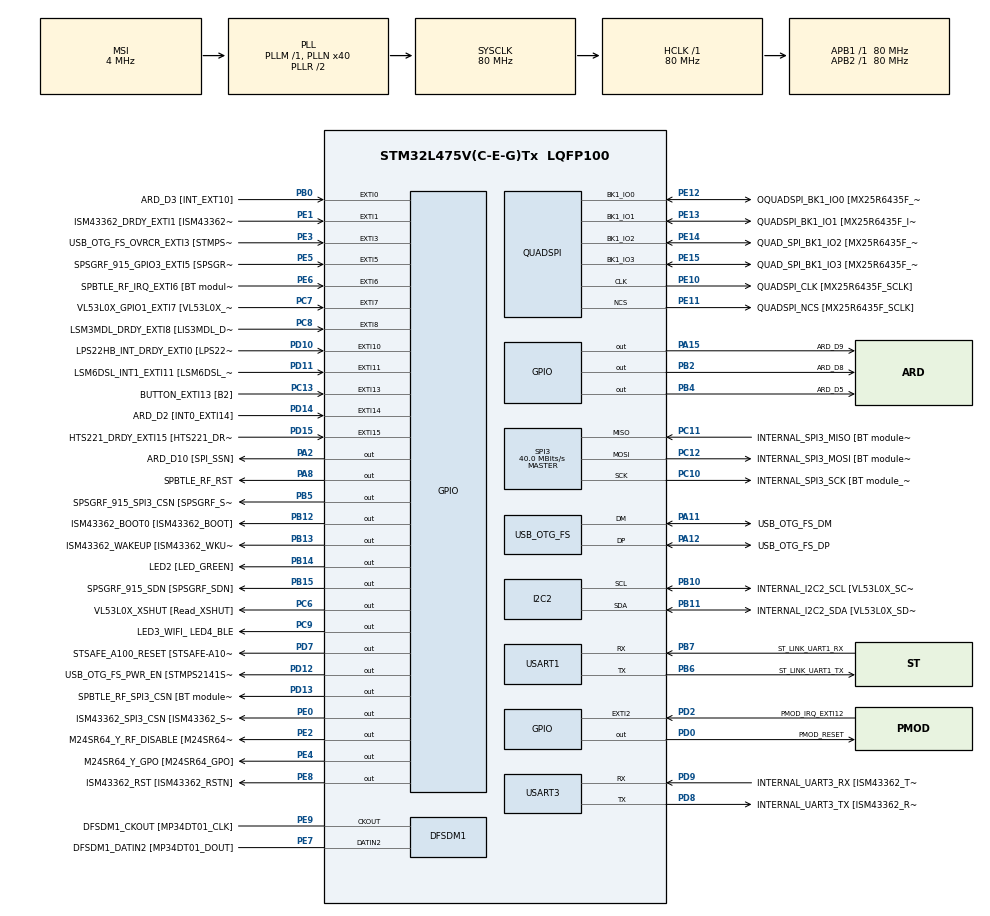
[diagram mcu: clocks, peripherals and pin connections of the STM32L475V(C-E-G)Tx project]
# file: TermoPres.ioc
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FREERTOS.HEAP_NUMBER=4
FREERTOS.Tasks01=defaultTask,24,128,StartDefaultTask,Default,NULL,Dynamic,NULL,NULL;temperature,9,400,StartTemp,Default,NULL,Dynamic,NULL,NULL;pressure,10,400,StartTPres,Default,NULL,Dynamic,NULL,NULL;humidity,11,400,StartHumidity,Default,NULL,Dynamic,NULL,NULL;HeatIndex,8,512,StartIndex,Default,NULL,Dynamic,NULL,NULL
FREERTOS.configTOTAL_HEAP_SIZE=9000
FREERTOS.configUSE_IDLE_HOOK=0
Mcu.Family=STM32L4
Mcu.Name=STM32L475V(C-E-G)Tx
Mcu.Package=LQFP100
NVIC.EXTI15_10_IRQn=true\:5\:0\:false\:false\:true\:true\:true\:true
NVIC.EXTI9_5_IRQn=true\:5\:0\:false\:false\:true\:true\:true\:true
NVIC.PriorityGroup=NVIC_PRIORITYGROUP_4
NVIC.TIM6_DAC_IRQn=true\:0\:0\:false\:false\:true\:false\:false\:true
NVIC.TimeBase=TIM6_DAC_IRQn
NVIC.TimeBaseIP=TIM6
PA0.GPIO_Label=ARD_D1 [UART4_TX]
PA0.Signal=UART4_TX
PA1.GPIO_Label=ARD_D0 [UART4_RX]
PA1.Signal=UART4_RX
PA10.GPIO_Label=USB_OTG_FS_ID
PA10.Signal=USB_OTG_FS_ID
PA11.GPIO_Label=USB_OTG_FS_DM
PA11.Mode=Device_Only
PA11.Signal=USB_OTG_FS_DM
PA12.GPIO_Label=USB_OTG_FS_DP
PA12.Mode=Device_Only
PA12.Signal=USB_OTG_FS_DP
PA13\ (JTMS-SWDIO).GPIO_Label=SYS_JTMS_SWDIO
PA13\ (JTMS-SWDIO).Mode=Serial_Wire
PA13\ (JTMS-SWDIO).Signal=SYS_JTMS-SWDIO
PA14\ (JTCK-SWCLK).GPIO_Label=SYS_JTCK_SWCLK
PA14\ (JTCK-SWCLK).Mode=Serial_Wire
PA14\ (JTCK-SWCLK).Signal=SYS_JTCK-SWCLK
PA15\ (JTDI).GPIO_Label=ARD_D9
PA15\ (JTDI).Signal=GPIO_Output
PA2.GPIO_Label=ARD_D10 [SPI_SSN]
PA2.Signal=GPIO_Output
PA3.GPIO_Label=ARD_D4
PA3.Signal=S_TIM2_CH4
PA4.GPIO_Label=ARD_D7
PA4.Signal=ADCx_IN9
PA5.GPIO_Label=ARD_D13 [SPI1_SCK]
PA5.Signal=SPI1_SCK
PA6.GPIO_Label=ARD_D12 [SPI1_MISO]
PA6.Signal=SPI1_MISO
PA7.GPIO_Label=ARD_D11 [SPI1_MOSI]
PA7.Signal=SPI1_MOSI
PA8.GPIO_Label=SPBTLE_RF_RST
PA8.Signal=GPIO_Output
PA9.GPIO_Label=USB_OTG_FS_VBUS [STMPS2141STR_OUT]
PA9.Signal=USB_OTG_FS_VBUS
PB0.GPIO_Label=ARD_D3 [INT_EXT10]
PB0.Signal=GPXTI0
PB1.GPIO_Label=ARD_D6 [ADC1_IN6]
PB1.Signal=ADCx_IN16
PB10.GPIO_Label=INTERNAL_I2C2_SCL [VL53L0X_SCL]
PB10.Mode=I2C
PB10.Signal=I2C2_SCL
PB11.GPIO_Label=INTERNAL_I2C2_SDA [VL53L0X_SDA]
PB11.Mode=I2C
PB11.Signal=I2C2_SDA
PB12.GPIO_Label=ISM43362_BOOT0 [ISM43362_BOOT]
PB12.Signal=GPIO_Output
PB13.GPIO_Label=ISM43362_WAKEUP [ISM43362_WKUP]
PB13.Signal=GPIO_Output
PB14.GPIO_Label=LED2 [LED_GREEN]
PB14.Signal=GPIO_Output
PB15.GPIO_Label=SPSGRF_915_SDN [SPSGRF_SDN]
PB15.Signal=GPIO_Output
PB2.GPIO_Label=ARD_D8
PB2.Signal=GPIO_Output
PB3\ (JTDO-TRACESWO).GPIO_Label=SYS_JTD0_SWO
PB3\ (JTDO-TRACESWO).Signal=SYS_JTDO-SWO
PB4\ (NJTRST).GPIO_Label=ARD_D5
PB4\ (NJTRST).Signal=GPIO_Output
PB5.GPIO_Label=SPSGRF_915_SPI3_CSN [SPSGRF_SPI_CS]
PB5.PinState=GPIO_PIN_SET
PB5.Signal=GPIO_Output
PB6.GPIO_Label=ST_LINK_UART1_TX
PB6.Mode=Asynchronous
PB6.Signal=USART1_TX
PB7.GPIO_Label=ST_LINK_UART1_RX
PB7.Mode=Asynchronous
PB7.Signal=USART1_RX
PB8.GPIO_Label=ARD_D15 [I2C1_SCL]
PB8.Signal=I2C1_SCL
PB9.GPIO_Label=ARD_D14 [I2C1_SDA]
PB9.Signal=I2C1_SDA
PC0.GPIO_Label=ARD_A5 [ADC]
PC0.Signal=ADCx_IN1
PC1.GPIO_Label=ARD_A4 [ADC]
PC1.Signal=ADCx_IN2
PC10.GPIO_Label=INTERNAL_SPI3_SCK [BT module_SPI_SCLK] [ISM43362_SCK]
PC10.Mode=Full_Duplex_Master
PC10.Signal=SPI3_SCK
PC11.GPIO_Label=INTERNAL_SPI3_MISO [BT module_SPI_MISO] [ISM43362_MISO]
PC11.Mode=Full_Duplex_Master
PC11.Signal=SPI3_MISO
PC12.GPIO_Label=INTERNAL_SPI3_MOSI [BT module_SPI_MOSI] [ISM43362_MOSI]
PC12.Mode=Full_Duplex_Master
PC12.Signal=SPI3_MOSI
PC13.GPIO_Label=BUTTON_EXTI13 [B2]
PC13.GPIO_ModeDefaultEXTI=GPIO_MODE_IT_FALLING
PC13.Signal=GPXTI13
PC14-OSC32_IN\ (PC14).Mode=LSE-External-Oscillator
PC14-OSC32_IN\ (PC14).Signal=RCC_OSC32_IN
PC15-OSC32_OUT\ (PC15).Mode=LSE-External-Oscillator
PC15-OSC32_OUT\ (PC15).Signal=RCC_OSC32_OUT
PC2.GPIO_Label=ARD_A3 [ADC]
PC2.Signal=ADCx_IN3
PC3.GPIO_Label=ARD_A2 [ADC]
PC3.Signal=ADCx_IN4
PC4.GPIO_Label=ARD_A1 [ADC]
PC4.Signal=ADCx_IN13
PC5.GPIO_Label=ARD_A0 [ADC]
PC5.Signal=ADCx_IN14
PC6.GPIO_Label=VL53L0X_XSHUT [Read_XSHUT]
PC6.Signal=GPIO_Output
PC7.GPIO_Label=VL53L0X_GPIO1_EXTI7 [VL53L0X_GPIO1]
PC7.Signal=GPXTI7
PC8.GPIO_Label=LSM3MDL_DRDY_EXTI8 [LIS3MDL_DRDY]
PC8.Signal=GPXTI8
PC9.GPIO_Label=LED3_WIFI_ LED4_BLE
PC9.Signal=GPIO_Output
PD0.GPIO_Label=PMOD_RESET
PD0.Signal=GPIO_Output
PD1.GPIO_Label=PMOD_SPI2_SCK
PD1.Signal=SPI2_SCK
PD10.GPIO_Label=LPS22HB_INT_DRDY_EXTI0 [LPS22HB_INT_DRDY] 
PD10.Signal=GPXTI10
PD11.GPIO_Label=LSM6DSL_INT1_EXTI11 [LSM6DSL_INT1]
PD11.Signal=GPXTI11
PD12.GPIO_Label=USB_OTG_FS_PWR_EN [STMPS2141STR_EN]
PD12.Signal=GPIO_Output
PD13.GPIO_Label=SPBTLE_RF_SPI3_CSN [BT module_SPI_CS]
PD13.PinState=GPIO_PIN_SET
PD13.Signal=GPIO_Output
PD14.GPIO_Label=ARD_D2 [INT0_EXTI14]
PD14.Signal=GPXTI14
PD15.GPIO_Label=HTS221_DRDY_EXTI15 [HTS221_DRDY]
PD15.Signal=GPXTI15
PD2.GPIO_Label=PMOD_IRQ_EXTI12
PD2.Signal=GPXTI2
PD3.GPIO_Label=PMOD_UART2_CTS
PD3.Signal=USART2_CTS
PD4.GPIO_Label=PMOD_UART2_RTS
PD4.Signal=USART2_RTS
PD5.GPIO_Label=PMOD_UART2_TX
PD5.Signal=USART2_TX
PD6.GPIO_Label=PMOD_UART2_RX
PD6.Signal=USART2_RX
PD7.GPIO_Label=STSAFE_A100_RESET [STSAFE-A100_RESET]
PD7.Signal=GPIO_Output
PD8.GPIO_Label=INTERNAL_UART3_TX [ISM43362_RX]
PD8.Mode=Asynchronous
PD8.Signal=USART3_TX
PD9.GPIO_Label=INTERNAL_UART3_RX [ISM43362_TX]
PD9.Mode=Asynchronous
PD9.Signal=USART3_RX
PE0.GPIO_Label=ISM43362_SPI3_CSN [ISM43362_SSN]
PE0.PinState=GPIO_PIN_SET
PE0.Signal=GPIO_Output
PE1.GPIO_Label=ISM43362_DRDY_EXTI1 [ISM43362_DATARDY]
PE1.Signal=GPXTI1
PE10.GPIO_Label=QUADSPI_CLK [MX25R6435F_SCLK]
PE10.Mode=Single Bank
PE10.Signal=QUADSPI_CLK
PE11.GPIO_Label=QUADSPI_NCS [MX25R6435F_SCLK]
PE11.Mode=Single Bank
PE11.Signal=QUADSPI_NCS
PE12.GPIO_Label=OQUADSPI_BK1_IO0 [MX25R6435F_IO0]
PE12.Mode=Single Bank
PE12.Signal=QUADSPI_BK1_IO0
PE13.GPIO_Label=QUADSPI_BK1_IO1 [MX25R6435F_IO1]
PE13.Mode=Single Bank
PE13.Signal=QUADSPI_BK1_IO1
PE14.GPIO_Label=QUAD_SPI_BK1_IO2 [MX25R6435F_IO2]
PE14.Mode=Single Bank
PE14.Signal=QUADSPI_BK1_IO2
PE15.GPIO_Label=QUAD_SPI_BK1_IO3 [MX25R6435F_IO3]
PE15.Mode=Single Bank
PE15.Signal=QUADSPI_BK1_IO3
PE2.GPIO_Label=M24SR64_Y_RF_DISABLE [M24SR64_RFDIS]
PE2.Signal=GPIO_Output
PE3.GPIO_Label=USB_OTG_FS_OVRCR_EXTI3 [STMPS2141STR_FAULT]
PE3.Signal=GPXTI3
PE4.GPIO_Label=M24SR64_Y_GPO [M24SR64_GPO]
PE4.Signal=GPIO_Output
PE5.GPIO_Label=SPSGRF_915_GPIO3_EXTI5 [SPSGRF_GPIO_3]
PE5.Signal=GPXTI5
PE6.GPIO_Label=SPBTLE_RF_IRQ_EXTI6 [BT module_SPI_IRQ]
PE6.Signal=GPXTI6
PE7.GPIO_Label=DFSDM1_DATIN2 [MP34DT01_DOUT]
PE7.Signal=S_DATAIN2DFSDM1
PE8.GPIO_Label=ISM43362_RST [ISM43362_RSTN]
PE8.Signal=GPIO_Output
PE9.GPIO_Label=DFSDM1_CKOUT [MP34DT01_CLK]
PE9.Signal=S_CKOUTDFSDM1
ProjectManager.HeapSize=0x200
ProjectManager.StackSize=0x400
ProjectManager.TargetToolchain=STM32CubeIDE
RCC.ADCFreq_Value=48000000
RCC.AHBFreq_Value=80000000
RCC.APB1Freq_Value=80000000
RCC.APB1TimFreq_Value=80000000
RCC.APB2Freq_Value=80000000
RCC.APB2TimFreq_Value=80000000
RCC.CortexFreq_Value=80000000
RCC.HCLKFreq_Value=80000000
RCC.HSE_VALUE=8000000
RCC.HSI_VALUE=16000000
RCC.MSI_VALUE=4000000
RCC.PLLN=40
RCC.PLLSAI1N=24
RCC.SYSCLKFreq_VALUE=80000000
RCC.SYSCLKSource=RCC_SYSCLKSOURCE_PLLCLK
RCC.USBFreq_Value=48000000
RCC.VCOOutputFreq_Value=160000000
SH.ADCx_IN1.0=ADC1_IN1
SH.ADCx_IN13.0=ADC1_IN13
SH.ADCx_IN14.0=ADC1_IN14
SH.ADCx_IN16.0=ADC1_IN16
SH.ADCx_IN2.0=ADC1_IN2
SH.ADCx_IN3.0=ADC1_IN3
SH.ADCx_IN4.0=ADC1_IN4
SH.ADCx_IN9.0=ADC1_IN9
SH.S_CKOUTDFSDM1.0=DFSDM1_CKOUT,CKOUT
SH.S_CKOUTDFSDM1.1=DFSDM1_CKOUT,PDM_SPI_Input_from_ch12_and_Internal_Clock
SH.S_DATAIN2DFSDM1.0=DFSDM1_DATIN2,PDM_SPI_Input_from_ch12_and_Internal_Clock
SH.S_TIM2_CH4.0=TIM2_CH4
SPI3.CalculateBaudRate=40.0 MBits/s
SPI3.Direction=SPI_DIRECTION_2LINES
SPI3.Mode=SPI_MODE_MASTER
SPI3.VirtualType=VM_MASTER
USART1.VirtualMode-Asynchronous=VM_ASYNC
USART3.VirtualMode-Asynchronous=VM_ASYNC
USB_OTG_FS.VirtualMode=Device_Only
VP_FREERTOS_VS_CMSIS_V2.Mode=CMSIS_V2
VP_SYS_VS_tim6.Mode=TIM6
board=B-L475E-IOT01A1

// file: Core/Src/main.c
/* USER CODE BEGIN Header */
/**
  ******************************************************************************
  * @file           : main.c
  * @brief          : Main program body
  ******************************************************************************
  * @attention
  *
  * <h2><center>&copy; Copyright (c) 2020 STMicroelectronics.
  * All rights reserved.</center></h2>
  *
  * This software component is licensed by ST under BSD 3-Clause license,
  * the "License"; You may not use this file except in compliance with the
  * License. You may obtain a copy of the License at:
  *                        opensource.org/licenses/BSD-3-Clause
  *
  ******************************************************************************
  */
/* USER CODE END Header */

#include "main.h"
#include "cmsis_os.h"

/* USER CODE BEGIN Includes */
#include "stm32l475e_iot01.h"
#include "stm32l475e_iot01_tsensor.h"
#include "stm32l475e_iot01_psensor.h"
#include "stm32l475e_iot01_hsensor.h"
#include <stdio.h>
#include <math.h>
/* USER CODE END Includes */

/* USER CODE BEGIN PD */
#define BIT_TEMP ( 1 << 0 )
#define BIT_PRES ( 1 << 1 )
#define BIT_HUM	( 1 << 2 )
#define BIT_ALL	( 1 << 0 | 1 << 1 | 1 << 2 )
/* USER CODE END PD */

DFSDM_Channel_HandleTypeDef hdfsdm1_channel1;

I2C_HandleTypeDef hi2c2;

QSPI_HandleTypeDef hqspi;

SPI_HandleTypeDef hspi3;

UART_HandleTypeDef huart1;
UART_HandleTypeDef huart3;

PCD_HandleTypeDef hpcd_USB_OTG_FS;

/* Definitions for PrintTask */
osThreadId_t PrintTaskHandle;
const osThreadAttr_t PrintTask_attributes = {
  .name = "PrintTask",
  .priority = (osPriority_t) osPriorityLow,
  .stack_size = 512
};
/* Definitions for temperature */
osThreadId_t temperatureHandle;
const osThreadAttr_t temperature_attributes = {
  .name = "temperature",
  .priority = (osPriority_t) osPriorityLow3,
  .stack_size = 400
};
/* Definitions for pressure */
osThreadId_t pressureHandle;
const osThreadAttr_t pressure_attributes = {
  .name = "pressure",
  .priority = (osPriority_t) osPriorityLow2,
  .stack_size = 400
};
/* Definitions for humidity */
osThreadId_t humidityHandle;
const osThreadAttr_t humidity_attributes = {
  .name = "humidity",
  .priority = (osPriority_t) osPriorityLow1,
  .stack_size = 400
};
/* Definitions for HeatIndex */
osThreadId_t HeatIndexHandle;
const osThreadAttr_t HeatIndex_attributes = {
  .name = "HeatIndex",
  .priority = (osPriority_t) osPriorityLow,
  .stack_size = 550
};
/* Definitions for ButtonQueue */
osMessageQueueId_t ButtonQueueHandle;
const osMessageQueueAttr_t ButtonQueue_attributes = {
  .name = "ButtonQueue"
};
/* USER CODE BEGIN PV */
char str_stamp[100] = "";
char str_hi[100] = "";
float temp_value = 0;
float pres_value = 0;
float hum_value = 0;
float heatIndex = 0;
int Inthum1 = 0;
int Inthum2 = 0;
int Intpres1 = 0;
int Intpres2 = 0;
int Inttemp1 = 0;
float Fractemp = 0;
int Inttemp2 = 0;
int Inthi1 = 0;
float Frachi = 0;
int Inthi2 = 0;
uint8_t msg = 0;
osStatus_t status;
osEventFlagsId_t evt_id;
uint32_t flags;
/* USER CODE END PV */

void SystemClock_Config(void);
static void MX_GPIO_Init(void);
static void MX_DFSDM1_Init(void);
static void MX_I2C2_Init(void);
static void MX_QUADSPI_Init(void);
static void MX_SPI3_Init(void);
static void MX_USART1_UART_Init(void);
static void MX_USART3_UART_Init(void);
static void MX_USB_OTG_FS_PCD_Init(void);
void StartPrintTask(void *argument);
void StartTemp(void *argument);
void StartTPres(void *argument);
void StartHumidity(void *argument);
void StartIndex(void *argument);

int main(void)
{

  /* MCU Configuration--------------------------------------------------------*/

  /* Reset of all peripherals, Initializes the Flash interface and the Systick. */
  HAL_Init();

  /* Configure the system clock */
  SystemClock_Config();

  /* Initialize all configured peripherals */
  MX_GPIO_Init();
  MX_DFSDM1_Init();
  MX_I2C2_Init();
  MX_QUADSPI_Init();
  MX_SPI3_Init();
  MX_USART1_UART_Init();
  MX_USART3_UART_Init();
  MX_USB_OTG_FS_PCD_Init();
  /* USER CODE BEGIN 2 */
  BSP_TSENSOR_Init();
  BSP_HSENSOR_Init();
  BSP_PSENSOR_Init();
  /* USER CODE END 2 */
  /* Init scheduler */
  osKernelInitialize();

  /* Create the queue(s) */
  /* creation of ButtonQueue */
  ButtonQueueHandle = osMessageQueueNew (1, sizeof(uint8_t), &ButtonQueue_attributes);

  /* USER CODE BEGIN RTOS_QUEUES */
  /* add queues, ... */
  evt_id = osEventFlagsNew(NULL);
  /* USER CODE END RTOS_QUEUES */

  /* Create the thread(s) */
  /* creation of PrintTask */
  PrintTaskHandle = osThreadNew(StartPrintTask, NULL, &PrintTask_attributes);

  /* creation of temperature */
  temperatureHandle = osThreadNew(StartTemp, NULL, &temperature_attributes);

  /* creation of pressure */
  pressureHandle = osThreadNew(StartTPres, NULL, &pressure_attributes);

  /* creation of humidity */
  humidityHandle = osThreadNew(StartHumidity, NULL, &humidity_attributes);

  /* creation of HeatIndex */
  HeatIndexHandle = osThreadNew(StartIndex, NULL, &HeatIndex_attributes);

  /* Start scheduler */
  osKernelStart();

  /* We should never get here as control is now taken by the scheduler */

  /* Infinite loop */
  while (1)
  {

  }
}

void SystemClock_Config(void)
{
  RCC_OscInitTypeDef RCC_OscInitStruct = {0};
  RCC_ClkInitTypeDef RCC_ClkInitStruct = {0};
  RCC_PeriphCLKInitTypeDef PeriphClkInit = {0};

  /** Configure LSE Drive Capability
  */
  HAL_PWR_EnableBkUpAccess();
  __HAL_RCC_LSEDRIVE_CONFIG(RCC_LSEDRIVE_LOW);
  /** Initializes the CPU, AHB and APB busses clocks
  */
  RCC_OscInitStruct.OscillatorType = RCC_OSCILLATORTYPE_LSE|RCC_OSCILLATORTYPE_MSI;
  RCC_OscInitStruct.LSEState = RCC_LSE_ON;
  RCC_OscInitStruct.MSIState = RCC_MSI_ON;
  RCC_OscInitStruct.MSICalibrationValue = 0;
  RCC_OscInitStruct.MSIClockRange = RCC_MSIRANGE_6;
  RCC_OscInitStruct.PLL.PLLState = RCC_PLL_ON;
  RCC_OscInitStruct.PLL.PLLSource = RCC_PLLSOURCE_MSI;
  RCC_OscInitStruct.PLL.PLLM = 1;
  RCC_OscInitStruct.PLL.PLLN = 40;
  RCC_OscInitStruct.PLL.PLLP = RCC_PLLP_DIV7;
  RCC_OscInitStruct.PLL.PLLQ = RCC_PLLQ_DIV2;
  RCC_OscInitStruct.PLL.PLLR = RCC_PLLR_DIV2;
  if (HAL_RCC_OscConfig(&RCC_OscInitStruct) != HAL_OK)
  {
    Error_Handler();
  }
  /** Initializes the CPU, AHB and APB busses clocks
  */
  RCC_ClkInitStruct.ClockType = RCC_CLOCKTYPE_HCLK|RCC_CLOCKTYPE_SYSCLK
                              |RCC_CLOCKTYPE_PCLK1|RCC_CLOCKTYPE_PCLK2;
  RCC_ClkInitStruct.SYSCLKSource = RCC_SYSCLKSOURCE_PLLCLK;
  RCC_ClkInitStruct.AHBCLKDivider = RCC_SYSCLK_DIV1;
  RCC_ClkInitStruct.APB1CLKDivider = RCC_HCLK_DIV1;
  RCC_ClkInitStruct.APB2CLKDivider = RCC_HCLK_DIV1;

  if (HAL_RCC_ClockConfig(&RCC_ClkInitStruct, FLASH_LATENCY_4) != HAL_OK)
  {
    Error_Handler();
  }
  PeriphClkInit.PeriphClockSelection = RCC_PERIPHCLK_USART1|RCC_PERIPHCLK_USART3
                              |RCC_PERIPHCLK_I2C2|RCC_PERIPHCLK_DFSDM1
                              |RCC_PERIPHCLK_USB;
  PeriphClkInit.Usart1ClockSelection = RCC_USART1CLKSOURCE_PCLK2;
  PeriphClkInit.Usart3ClockSelection = RCC_USART3CLKSOURCE_PCLK1;
  PeriphClkInit.I2c2ClockSelection = RCC_I2C2CLKSOURCE_PCLK1;
  PeriphClkInit.Dfsdm1ClockSelection = RCC_DFSDM1CLKSOURCE_PCLK;
  PeriphClkInit.UsbClockSelection = RCC_USBCLKSOURCE_PLLSAI1;
  PeriphClkInit.PLLSAI1.PLLSAI1Source = RCC_PLLSOURCE_MSI;
  PeriphClkInit.PLLSAI1.PLLSAI1M = 1;
  PeriphClkInit.PLLSAI1.PLLSAI1N = 24;
  PeriphClkInit.PLLSAI1.PLLSAI1P = RCC_PLLP_DIV7;
  PeriphClkInit.PLLSAI1.PLLSAI1Q = RCC_PLLQ_DIV2;
  PeriphClkInit.PLLSAI1.PLLSAI1R = RCC_PLLR_DIV2;
  PeriphClkInit.PLLSAI1.PLLSAI1ClockOut = RCC_PLLSAI1_48M2CLK;
  if (HAL_RCCEx_PeriphCLKConfig(&PeriphClkInit) != HAL_OK)
  {
    Error_Handler();
  }
  /** Configure the main internal regulator output voltage
  */
  if (HAL_PWREx_ControlVoltageScaling(PWR_REGULATOR_VOLTAGE_SCALE1) != HAL_OK)
  {
    Error_Handler();
  }
  /** Enable MSI Auto calibration
  */
  HAL_RCCEx_EnableMSIPLLMode();
}

static void MX_DFSDM1_Init(void)
{

  hdfsdm1_channel1.Instance = DFSDM1_Channel1;
  hdfsdm1_channel1.Init.OutputClock.Activation = ENABLE;
  hdfsdm1_channel1.Init.OutputClock.Selection = DFSDM_CHANNEL_OUTPUT_CLOCK_SYSTEM;
  hdfsdm1_channel1.Init.OutputClock.Divider = 2;
  hdfsdm1_channel1.Init.Input.Multiplexer = DFSDM_CHANNEL_EXTERNAL_INPUTS;
  hdfsdm1_channel1.Init.Input.DataPacking = DFSDM_CHANNEL_STANDARD_MODE;
  hdfsdm1_channel1.Init.Input.Pins = DFSDM_CHANNEL_FOLLOWING_CHANNEL_PINS;
  hdfsdm1_channel1.Init.SerialInterface.Type = DFSDM_CHANNEL_SPI_RISING;
  hdfsdm1_channel1.Init.SerialInterface.SpiClock = DFSDM_CHANNEL_SPI_CLOCK_INTERNAL;
  hdfsdm1_channel1.Init.Awd.FilterOrder = DFSDM_CHANNEL_FASTSINC_ORDER;
  hdfsdm1_channel1.Init.Awd.Oversampling = 1;
  hdfsdm1_channel1.Init.Offset = 0;
  hdfsdm1_channel1.Init.RightBitShift = 0x00;
  if (HAL_DFSDM_ChannelInit(&hdfsdm1_channel1) != HAL_OK)
  {
    Error_Handler();
  }

}

static void MX_I2C2_Init(void)
{

  hi2c2.Instance = I2C2;
  hi2c2.Init.Timing = 0x10909CEC;
  hi2c2.Init.OwnAddress1 = 0;
  hi2c2.Init.AddressingMode = I2C_ADDRESSINGMODE_7BIT;
  hi2c2.Init.DualAddressMode = I2C_DUALADDRESS_DISABLE;
  hi2c2.Init.OwnAddress2 = 0;
  hi2c2.Init.OwnAddress2Masks = I2C_OA2_NOMASK;
  hi2c2.Init.GeneralCallMode = I2C_GENERALCALL_DISABLE;
  hi2c2.Init.NoStretchMode = I2C_NOSTRETCH_DISABLE;
  if (HAL_I2C_Init(&hi2c2) != HAL_OK)
  {
    Error_Handler();
  }
  /** Configure Analogue filter
  */
  if (HAL_I2CEx_ConfigAnalogFilter(&hi2c2, I2C_ANALOGFILTER_ENABLE) != HAL_OK)
  {
    Error_Handler();
  }
  /** Configure Digital filter
  */
  if (HAL_I2CEx_ConfigDigitalFilter(&hi2c2, 0) != HAL_OK)
  {
    Error_Handler();
  }

}

static void MX_QUADSPI_Init(void)
{

  /* QUADSPI parameter configuration*/
  hqspi.Instance = QUADSPI;
  hqspi.Init.ClockPrescaler = 255;
  hqspi.Init.FifoThreshold = 1;
  hqspi.Init.SampleShifting = QSPI_SAMPLE_SHIFTING_NONE;
  hqspi.Init.FlashSize = 1;
  hqspi.Init.ChipSelectHighTime = QSPI_CS_HIGH_TIME_1_CYCLE;
  hqspi.Init.ClockMode = QSPI_CLOCK_MODE_0;
  if (HAL_QSPI_Init(&hqspi) != HAL_OK)
  {
    Error_Handler();
  }

}

static void MX_SPI3_Init(void)
{

  /* SPI3 parameter configuration*/
  hspi3.Instance = SPI3;
  hspi3.Init.Mode = SPI_MODE_MASTER;
  hspi3.Init.Direction = SPI_DIRECTION_2LINES;
  hspi3.Init.DataSize = SPI_DATASIZE_4BIT;
  hspi3.Init.CLKPolarity = SPI_POLARITY_LOW;
  hspi3.Init.CLKPhase = SPI_PHASE_1EDGE;
  hspi3.Init.NSS = SPI_NSS_SOFT;
  hspi3.Init.BaudRatePrescaler = SPI_BAUDRATEPRESCALER_2;
  hspi3.Init.FirstBit = SPI_FIRSTBIT_MSB;
  hspi3.Init.TIMode = SPI_TIMODE_DISABLE;
  hspi3.Init.CRCCalculation = SPI_CRCCALCULATION_DISABLE;
  hspi3.Init.CRCPolynomial = 7;
  hspi3.Init.CRCLength = SPI_CRC_LENGTH_DATASIZE;
  hspi3.Init.NSSPMode = SPI_NSS_PULSE_ENABLE;
  if (HAL_SPI_Init(&hspi3) != HAL_OK)
  {
    Error_Handler();
  }

}

static void MX_USART1_UART_Init(void)
{

  huart1.Instance = USART1;
  huart1.Init.BaudRate = 115200;
  huart1.Init.WordLength = UART_WORDLENGTH_8B;
  huart1.Init.StopBits = UART_STOPBITS_1;
  huart1.Init.Parity = UART_PARITY_NONE;
  huart1.Init.Mode = UART_MODE_TX_RX;
  huart1.Init.HwFlowCtl = UART_HWCONTROL_NONE;
  huart1.Init.OverSampling = UART_OVERSAMPLING_16;
  huart1.Init.OneBitSampling = UART_ONE_BIT_SAMPLE_DISABLE;
  huart1.AdvancedInit.AdvFeatureInit = UART_ADVFEATURE_NO_INIT;
  if (HAL_UART_Init(&huart1) != HAL_OK)
  {
    Error_Handler();
  }

}

static void MX_USART3_UART_Init(void)
{

  huart3.Instance = USART3;
  huart3.Init.BaudRate = 115200;
  huart3.Init.WordLength = UART_WORDLENGTH_8B;
  huart3.Init.StopBits = UART_STOPBITS_1;
  huart3.Init.Parity = UART_PARITY_NONE;
  huart3.Init.Mode = UART_MODE_TX_RX;
  huart3.Init.HwFlowCtl = UART_HWCONTROL_NONE;
  huart3.Init.OverSampling = UART_OVERSAMPLING_16;
  huart3.Init.OneBitSampling = UART_ONE_BIT_SAMPLE_DISABLE;
  huart3.AdvancedInit.AdvFeatureInit = UART_ADVFEATURE_NO_INIT;
  if (HAL_UART_Init(&huart3) != HAL_OK)
  {
    Error_Handler();
  }

}

static void MX_USB_OTG_FS_PCD_Init(void)
{

  hpcd_USB_OTG_FS.Instance = USB_OTG_FS;
  hpcd_USB_OTG_FS.Init.dev_endpoints = 6;
  hpcd_USB_OTG_FS.Init.speed = PCD_SPEED_FULL;
  hpcd_USB_OTG_FS.Init.phy_itface = PCD_PHY_EMBEDDED;
  hpcd_USB_OTG_FS.Init.Sof_enable = DISABLE;
  hpcd_USB_OTG_FS.Init.low_power_enable = DISABLE;
  hpcd_USB_OTG_FS.Init.lpm_enable = DISABLE;
  hpcd_USB_OTG_FS.Init.battery_charging_enable = DISABLE;
  hpcd_USB_OTG_FS.Init.use_dedicated_ep1 = DISABLE;
  hpcd_USB_OTG_FS.Init.vbus_sensing_enable = DISABLE;
  if (HAL_PCD_Init(&hpcd_USB_OTG_FS) != HAL_OK)
  {
    Error_Handler();
  }

}

static void MX_GPIO_Init(void)
{
  GPIO_InitTypeDef GPIO_InitStruct = {0};

  /* GPIO Ports Clock Enable */
  __HAL_RCC_GPIOE_CLK_ENABLE();
  __HAL_RCC_GPIOC_CLK_ENABLE();
  __HAL_RCC_GPIOA_CLK_ENABLE();
  __HAL_RCC_GPIOB_CLK_ENABLE();
  __HAL_RCC_GPIOD_CLK_ENABLE();

  /*Configure GPIO pin Output Level */
  HAL_GPIO_WritePin(GPIOE, M24SR64_Y_RF_DISABLE_Pin|M24SR64_Y_GPO_Pin|ISM43362_RST_Pin, GPIO_PIN_RESET);

  /*Configure GPIO pin Output Level */
  HAL_GPIO_WritePin(GPIOA, ARD_D10_Pin|SPBTLE_RF_RST_Pin|ARD_D9_Pin, GPIO_PIN_RESET);

  /*Configure GPIO pin Output Level */
  HAL_GPIO_WritePin(GPIOB, ARD_D8_Pin|ISM43362_BOOT0_Pin|ISM43362_WAKEUP_Pin|LED2_Pin
                          |SPSGRF_915_SDN_Pin|ARD_D5_Pin, GPIO_PIN_RESET);

  /*Configure GPIO pin Output Level */
  HAL_GPIO_WritePin(GPIOD, USB_OTG_FS_PWR_EN_Pin|PMOD_RESET_Pin|STSAFE_A100_RESET_Pin, GPIO_PIN_RESET);

  /*Configure GPIO pin Output Level */
  HAL_GPIO_WritePin(SPBTLE_RF_SPI3_CSN_GPIO_Port, SPBTLE_RF_SPI3_CSN_Pin, GPIO_PIN_SET);

  /*Configure GPIO pin Output Level */
  HAL_GPIO_WritePin(GPIOC, VL53L0X_XSHUT_Pin|LED3_WIFI__LED4_BLE_Pin, GPIO_PIN_RESET);

  /*Configure GPIO pin Output Level */
  HAL_GPIO_WritePin(SPSGRF_915_SPI3_CSN_GPIO_Port, SPSGRF_915_SPI3_CSN_Pin, GPIO_PIN_SET);

  /*Configure GPIO pin Output Level */
  HAL_GPIO_WritePin(ISM43362_SPI3_CSN_GPIO_Port, ISM43362_SPI3_CSN_Pin, GPIO_PIN_SET);

  /*Configure GPIO pins : M24SR64_Y_RF_DISABLE_Pin M24SR64_Y_GPO_Pin ISM43362_RST_Pin ISM43362_SPI3_CSN_Pin */
  GPIO_InitStruct.Pin = M24SR64_Y_RF_DISABLE_Pin|M24SR64_Y_GPO_Pin|ISM43362_RST_Pin|ISM43362_SPI3_CSN_Pin;
  GPIO_InitStruct.Mode = GPIO_MODE_OUTPUT_PP;
  GPIO_InitStruct.Pull = GPIO_NOPULL;
  GPIO_InitStruct.Speed = GPIO_SPEED_FREQ_LOW;
  HAL_GPIO_Init(GPIOE, &GPIO_InitStruct);

  /*Configure GPIO pins : USB_OTG_FS_OVRCR_EXTI3_Pin SPSGRF_915_GPIO3_EXTI5_Pin SPBTLE_RF_IRQ_EXTI6_Pin ISM43362_DRDY_EXTI1_Pin */
  GPIO_InitStruct.Pin = USB_OTG_FS_OVRCR_EXTI3_Pin|SPSGRF_915_GPIO3_EXTI5_Pin|SPBTLE_RF_IRQ_EXTI6_Pin|ISM43362_DRDY_EXTI1_Pin;
  GPIO_InitStruct.Mode = GPIO_MODE_IT_RISING;
  GPIO_InitStruct.Pull = GPIO_NOPULL;
  HAL_GPIO_Init(GPIOE, &GPIO_InitStruct);

  /*Configure GPIO pin : BUTTON_EXTI13_Pin */
  GPIO_InitStruct.Pin = BUTTON_EXTI13_Pin;
  GPIO_InitStruct.Mode = GPIO_MODE_IT_FALLING;
  GPIO_InitStruct.Pull = GPIO_NOPULL;
  HAL_GPIO_Init(BUTTON_EXTI13_GPIO_Port, &GPIO_InitStruct);

  /*Configure GPIO pins : ARD_A5_Pin ARD_A4_Pin ARD_A3_Pin ARD_A2_Pin
                           ARD_A1_Pin ARD_A0_Pin */
  GPIO_InitStruct.Pin = ARD_A5_Pin|ARD_A4_Pin|ARD_A3_Pin|ARD_A2_Pin
                          |ARD_A1_Pin|ARD_A0_Pin;
  GPIO_InitStruct.Mode = GPIO_MODE_ANALOG_ADC_CONTROL;
  GPIO_InitStruct.Pull = GPIO_NOPULL;
  HAL_GPIO_Init(GPIOC, &GPIO_InitStruct);

  /*Configure GPIO pins : ARD_D1_Pin ARD_D0_Pin */
  GPIO_InitStruct.Pin = ARD_D1_Pin|ARD_D0_Pin;
  GPIO_InitStruct.Mode = GPIO_MODE_AF_PP;
  GPIO_InitStruct.Pull = GPIO_NOPULL;
  GPIO_InitStruct.Speed = GPIO_SPEED_FREQ_VERY_HIGH;
  GPIO_InitStruct.Alternate = GPIO_AF8_UART4;
  HAL_GPIO_Init(GPIOA, &GPIO_InitStruct);

  /*Configure GPIO pins : ARD_D10_Pin SPBTLE_RF_RST_Pin ARD_D9_Pin */
  GPIO_InitStruct.Pin = ARD_D10_Pin|SPBTLE_RF_RST_Pin|ARD_D9_Pin;
  GPIO_InitStruct.Mode = GPIO_MODE_OUTPUT_PP;
  GPIO_InitStruct.Pull = GPIO_NOPULL;
  GPIO_InitStruct.Speed = GPIO_SPEED_FREQ_LOW;
  HAL_GPIO_Init(GPIOA, &GPIO_InitStruct);

  /*Configure GPIO pin : ARD_D4_Pin */
  GPIO_InitStruct.Pin = ARD_D4_Pin;
  GPIO_InitStruct.Mode = GPIO_MODE_AF_PP;
  GPIO_InitStruct.Pull = GPIO_NOPULL;
  GPIO_InitStruct.Speed = GPIO_SPEED_FREQ_LOW;
  GPIO_InitStruct.Alternate = GPIO_AF1_TIM2;
  HAL_GPIO_Init(ARD_D4_GPIO_Port, &GPIO_InitStruct);

  /*Configure GPIO pin : ARD_D7_Pin */
  GPIO_InitStruct.Pin = ARD_D7_Pin;
  GPIO_InitStruct.Mode = GPIO_MODE_ANALOG_ADC_CONTROL;
  GPIO_InitStruct.Pull = GPIO_NOPULL;
  HAL_GPIO_Init(ARD_D7_GPIO_Port, &GPIO_InitStruct);

  /*Configure GPIO pins : ARD_D13_Pin ARD_D12_Pin ARD_D11_Pin */
  GPIO_InitStruct.Pin = ARD_D13_Pin|ARD_D12_Pin|ARD_D11_Pin;
  GPIO_InitStruct.Mode = GPIO_MODE_AF_PP;
  GPIO_InitStruct.Pull = GPIO_NOPULL;
  GPIO_InitStruct.Speed = GPIO_SPEED_FREQ_VERY_HIGH;
  GPIO_InitStruct.Alternate = GPIO_AF5_SPI1;
  HAL_GPIO_Init(GPIOA, &GPIO_InitStruct);

  /*Configure GPIO pin : ARD_D3_Pin */
  GPIO_InitStruct.Pin = ARD_D3_Pin;
  GPIO_InitStruct.Mode = GPIO_MODE_IT_RISING;
  GPIO_InitStruct.Pull = GPIO_NOPULL;
  HAL_GPIO_Init(ARD_D3_GPIO_Port, &GPIO_InitStruct);

  /*Configure GPIO pin : ARD_D6_Pin */
  GPIO_InitStruct.Pin = ARD_D6_Pin;
  GPIO_InitStruct.Mode = GPIO_MODE_ANALOG_ADC_CONTROL;
  GPIO_InitStruct.Pull = GPIO_NOPULL;
  HAL_GPIO_Init(ARD_D6_GPIO_Port, &GPIO_InitStruct);

  /*Configure GPIO pins : ARD_D8_Pin ISM43362_BOOT0_Pin ISM43362_WAKEUP_Pin LED2_Pin
                           SPSGRF_915_SDN_Pin ARD_D5_Pin SPSGRF_915_SPI3_CSN_Pin */
  GPIO_InitStruct.Pin = ARD_D8_Pin|ISM43362_BOOT0_Pin|ISM43362_WAKEUP_Pin|LED2_Pin
                          |SPSGRF_915_SDN_Pin|ARD_D5_Pin|SPSGRF_915_SPI3_CSN_Pin;
  GPIO_InitStruct.Mode = GPIO_MODE_OUTPUT_PP;
  GPIO_InitStruct.Pull = GPIO_NOPULL;
  GPIO_InitStruct.Speed = GPIO_SPEED_FREQ_LOW;
  HAL_GPIO_Init(GPIOB, &GPIO_InitStruct);

  /*Configure GPIO pins : LPS22HB_INT_DRDY_EXTI0_Pin LSM6DSL_INT1_EXTI11_Pin ARD_D2_Pin HTS221_DRDY_EXTI15_Pin
                           PMOD_IRQ_EXTI12_Pin */
  GPIO_InitStruct.Pin = LPS22HB_INT_DRDY_EXTI0_Pin|LSM6DSL_INT1_EXTI11_Pin|ARD_D2_Pin|HTS221_DRDY_EXTI15_Pin
                          |PMOD_IRQ_EXTI12_Pin;
  GPIO_InitStruct.Mode = GPIO_MODE_IT_RISING;
  GPIO_InitStruct.Pull = GPIO_NOPULL;
  HAL_GPIO_Init(GPIOD, &GPIO_InitStruct);

  /*Configure GPIO pins : USB_OTG_FS_PWR_EN_Pin SPBTLE_RF_SPI3_CSN_Pin PMOD_RESET_Pin STSAFE_A100_RESET_Pin */
  GPIO_InitStruct.Pin = USB_OTG_FS_PWR_EN_Pin|SPBTLE_RF_SPI3_CSN_Pin|PMOD_RESET_Pin|STSAFE_A100_RESET_Pin;
  GPIO_InitStruct.Mode = GPIO_MODE_OUTPUT_PP;
  GPIO_InitStruct.Pull = GPIO_NOPULL;
  GPIO_InitStruct.Speed = GPIO_SPEED_FREQ_LOW;
  HAL_GPIO_Init(GPIOD, &GPIO_InitStruct);

  /*Configure GPIO pins : VL53L0X_XSHUT_Pin LED3_WIFI__LED4_BLE_Pin */
  GPIO_InitStruct.Pin = VL53L0X_XSHUT_Pin|LED3_WIFI__LED4_BLE_Pin;
  GPIO_InitStruct.Mode = GPIO_MODE_OUTPUT_PP;
  GPIO_InitStruct.Pull = GPIO_NOPULL;
  GPIO_InitStruct.Speed = GPIO_SPEED_FREQ_LOW;
  HAL_GPIO_Init(GPIOC, &GPIO_InitStruct);

  /*Configure GPIO pins : VL53L0X_GPIO1_EXTI7_Pin LSM3MDL_DRDY_EXTI8_Pin */
  GPIO_InitStruct.Pin = VL53L0X_GPIO1_EXTI7_Pin|LSM3MDL_DRDY_EXTI8_Pin;
  GPIO_InitStruct.Mode = GPIO_MODE_IT_RISING;
  GPIO_InitStruct.Pull = GPIO_NOPULL;
  HAL_GPIO_Init(GPIOC, &GPIO_InitStruct);

  /*Configure GPIO pin : PMOD_SPI2_SCK_Pin */
  GPIO_InitStruct.Pin = PMOD_SPI2_SCK_Pin;
  GPIO_InitStruct.Mode = GPIO_MODE_AF_PP;
  GPIO_InitStruct.Pull = GPIO_NOPULL;
  GPIO_InitStruct.Speed = GPIO_SPEED_FREQ_VERY_HIGH;
  GPIO_InitStruct.Alternate = GPIO_AF5_SPI2;
  HAL_GPIO_Init(PMOD_SPI2_SCK_GPIO_Port, &GPIO_InitStruct);

  /*Configure GPIO pins : PMOD_UART2_CTS_Pin PMOD_UART2_RTS_Pin PMOD_UART2_TX_Pin PMOD_UART2_RX_Pin */
  GPIO_InitStruct.Pin = PMOD_UART2_CTS_Pin|PMOD_UART2_RTS_Pin|PMOD_UART2_TX_Pin|PMOD_UART2_RX_Pin;
  GPIO_InitStruct.Mode = GPIO_MODE_AF_PP;
  GPIO_InitStruct.Pull = GPIO_NOPULL;
  GPIO_InitStruct.Speed = GPIO_SPEED_FREQ_VERY_HIGH;
  GPIO_InitStruct.Alternate = GPIO_AF7_USART2;
  HAL_GPIO_Init(GPIOD, &GPIO_InitStruct);

  /*Configure GPIO pins : ARD_D15_Pin ARD_D14_Pin */
  GPIO_InitStruct.Pin = ARD_D15_Pin|ARD_D14_Pin;
  GPIO_InitStruct.Mode = GPIO_MODE_AF_OD;
  GPIO_InitStruct.Pull = GPIO_PULLUP;
  GPIO_InitStruct.Speed = GPIO_SPEED_FREQ_VERY_HIGH;
  GPIO_InitStruct.Alternate = GPIO_AF4_I2C1;
  HAL_GPIO_Init(GPIOB, &GPIO_InitStruct);

  /* EXTI interrupt init*/
  HAL_NVIC_SetPriority(EXTI9_5_IRQn, 5, 0);
  HAL_NVIC_EnableIRQ(EXTI9_5_IRQn);

  HAL_NVIC_SetPriority(EXTI15_10_IRQn, 5, 0);
  HAL_NVIC_EnableIRQ(EXTI15_10_IRQn);

}

/* USER CODE BEGIN 4 */
void HAL_GPIO_EXTI_Callback(uint16_t GPIO_Pin)
{
	if(GPIO_Pin == GPIO_PIN_13){ // Insert the message only if the User Button has been pressed
	osMessageQueuePut(ButtonQueueHandle, &msg, 0U, 0U);}
}
/* USER CODE END 4 */

void StartPrintTask(void *argument)
{
  /* USER CODE BEGIN 5 */
  /* Infinite loop */
  for(;;)
  {
	  flags = osEventFlagsWait(evt_id, BIT_ALL, osFlagsWaitAll, osWaitForever);
	  snprintf(str_stamp,100,"HUMIDITY = %d.%02d %%\r\nTEMPERATURE = %d.%02d \xB0""C\r\nPRESSURE = %d.%02d hPa\r\n\r\n", Inthum1, Inthum2, Inttemp1, Inttemp2, Intpres1, Intpres2);
	  HAL_UART_Transmit(&huart1,( uint8_t * )str_stamp,sizeof(str_stamp),2000);
	  osDelay(1000);
  }
  /* USER CODE END 5 */
}

void StartTemp(void *argument)
{
  /* USER CODE BEGIN StartTemp */
  /* Infinite loop */
  for(;;)
  {
	  temp_value = BSP_TSENSOR_ReadTemp();
	  Inttemp1 = temp_value;
	  Fractemp = temp_value - Inttemp1;
	  Inttemp2 = trunc(Fractemp * 100);
	  osEventFlagsSet(evt_id, BIT_TEMP);
	  osDelay(3000);
  }
  /* USER CODE END StartTemp */
}

void StartTPres(void *argument)
{
  /* USER CODE BEGIN StartTPres */
  /* Infinite loop */
  for(;;)
  {
	  flags = osEventFlagsWait(evt_id, BIT_TEMP, osFlagsWaitAll | osFlagsNoClear, osWaitForever);
	  pres_value = BSP_PSENSOR_ReadPressure();
	  Intpres1 = pres_value;
	  Fractemp = pres_value - Intpres1;
	  Intpres2 = trunc(Fractemp * 100);
	  osEventFlagsSet(evt_id, BIT_PRES);
	  osDelay(3000);
  }
  /* USER CODE END StartTPres */
}

void StartHumidity(void *argument)
{
  /* USER CODE BEGIN StartHumidity */
  /* Infinite loop */
  for(;;)
  {
	  flags = osEventFlagsWait(evt_id, BIT_TEMP | BIT_PRES, osFlagsWaitAll | osFlagsNoClear, osWaitForever);
	  hum_value = BSP_HSENSOR_ReadHumidity();
	  Inthum1 = hum_value;
	  Fractemp = hum_value - Inthum1;
	  Inthum2 = trunc(Fractemp * 100);
	  osEventFlagsSet(evt_id, BIT_HUM);
	  osDelay(3000);
  }
  /* USER CODE END StartHumidity */
}

void StartIndex(void *argument)
{
  /* USER CODE BEGIN StartIndex */
  /* Infinite loop */
  for(;;)
  {
	  status = osMessageQueueGet(ButtonQueueHandle, &msg, NULL, osWaitForever);   // wait for message
	      if (status == osOK) {
	    	  Frachi = (temp_value * (1.8)) + 32; // Temperature conversion into Fahreneit
	    	  heatIndex = -42.379 + (2.04901523 * Frachi) + (10.14333127 * hum_value) + (-.22475541 * Frachi*hum_value) + (-0.00683783 * (Frachi*Frachi)) + (-0.05481717 * (hum_value * hum_value)) + (0.00122874 * (Frachi * Frachi) * hum_value) + (0.00085282 * Frachi * (hum_value * hum_value)) + (-0.00000199 * (Frachi * Frachi) * (hum_value * hum_value));
	    	  heatIndex = (heatIndex - 32) * 0.55; // Heat Index conversion into Celsius
	    	  Inthi1 = heatIndex;
	    	  Fractemp = heatIndex - Inthi1;
	    	  Inthi2 = trunc(Fractemp * 100);
	    	  snprintf(str_hi, 100, "Temperature = %d.%02d \xB0""C, Humidity = %d.%02d %%, Heat Index = %d.%02d\r\n\r\n", Inttemp1, Inttemp2, Inthum1, Inthum2, Inthi1, Inthi2);
	    	  HAL_UART_Transmit(&huart1,( uint8_t * )str_hi,sizeof(str_hi),1000);
	    	  HAL_GPIO_TogglePin(GPIOB, LED2_Pin);
	      }
	  osDelay(100);
  }
  /* USER CODE END StartIndex */
}

void HAL_TIM_PeriodElapsedCallback(TIM_HandleTypeDef *htim)
{
  if (htim->Instance == TIM6) {
    HAL_IncTick();
  }
}

void Error_Handler(void)
{
}

/************************ (C) COPYRIGHT STMicroelectronics *****END OF FILE****/
